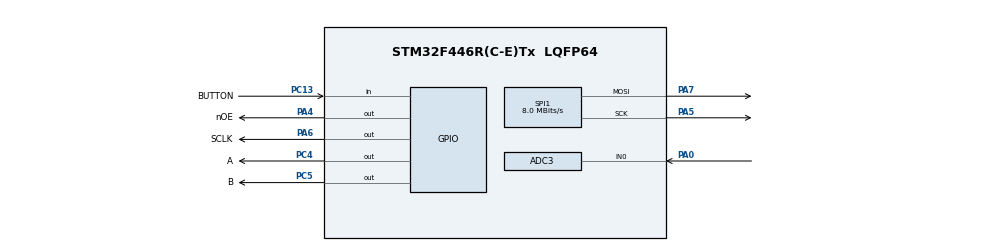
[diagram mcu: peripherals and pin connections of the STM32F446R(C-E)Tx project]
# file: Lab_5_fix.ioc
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ADC3.Channel-1\#ChannelRegularConversion=ADC_CHANNEL_0
ADC3.NbrOfConversionFlag=1
ADC3.Rank-1\#ChannelRegularConversion=1
ADC3.SamplingTime-1\#ChannelRegularConversion=ADC_SAMPLETIME_3CYCLES
Mcu.Family=STM32F4
Mcu.Name=STM32F446R(C-E)Tx
Mcu.Package=LQFP64
NVIC.ADC_IRQn=true\:0\:0\:false\:false\:true\:true\:true\:true
NVIC.PriorityGroup=NVIC_PRIORITYGROUP_4
NVIC.TIM1_BRK_TIM9_IRQn=true\:0\:0\:false\:false\:true\:true\:true\:true
NVIC.TIM1_UP_TIM10_IRQn=true\:0\:0\:false\:false\:true\:true\:true\:true
NVIC.TIM2_IRQn=true\:0\:0\:false\:false\:true\:true\:true\:true
NVIC.TIM3_IRQn=true\:0\:0\:false\:false\:true\:true\:true\:true
NVIC.TIM4_IRQn=true\:0\:0\:false\:false\:true\:true\:true\:true
NVIC.TIM8_BRK_TIM12_IRQn=true\:0\:0\:false\:false\:true\:true\:true\:true
PA0-WKUP.Signal=ADCx_IN0
PA13.Mode=Serial_Wire
PA13.Signal=SYS_JTMS-SWDIO
PA14.Mode=Serial_Wire
PA14.Signal=SYS_JTCK-SWCLK
PA4.GPIO_Label=nOE
PA4.Signal=GPIO_Output
PA5.Mode=TX_Only_Simplex_Unidirect_Master
PA5.Signal=SPI1_SCK
PA6.GPIO_Label=SCLK
PA6.Signal=GPIO_Output
PA7.Mode=TX_Only_Simplex_Unidirect_Master
PA7.Signal=SPI1_MOSI
PC13.GPIO_Label=BUTTON
PC13.Signal=GPIO_Input
PC4.GPIO_Label=A
PC4.Signal=GPIO_Output
PC5.GPIO_Label=B
PC5.Signal=GPIO_Output
PH0-OSC_IN.Mode=HSE-External-Oscillator
PH0-OSC_IN.Signal=RCC_OSC_IN
PH1-OSC_OUT.Mode=HSE-External-Oscillator
PH1-OSC_OUT.Signal=RCC_OSC_OUT
ProjectManager.HeapSize=0x200
ProjectManager.StackSize=0x400
ProjectManager.TargetToolchain=STM32CubeIDE
RCC.CortexFreq_Value=16000000
RCC.USBFreq_Value=96000000
RCC.VCOOutputFreq_Value=192000000
SH.ADCx_IN0.0=ADC3_IN0,IN0
SPI1.CalculateBaudRate=8.0 MBits/s
SPI1.Direction=SPI_DIRECTION_2LINES
SPI1.Mode=SPI_MODE_MASTER
SPI1.VirtualType=VM_MASTER
TIM1.Channel-PWM\ Generation1\ No\ Output=TIM_CHANNEL_1
TIM1.Period=2000
TIM1.Prescaler=4000
TIM10.Period=50000-1
TIM10.Prescaler=150-1
TIM12.Channel-PWM\ Generation1\ No\ Output=TIM_CHANNEL_1
TIM12.Period=50000-1
TIM12.Prescaler=320-1
TIM2.Channel-PWM\ Generation1\ No\ Output=TIM_CHANNEL_1
TIM3.Channel-PWM\ Generation1\ No\ Output=TIM_CHANNEL_1
TIM3.Period=50000-1
TIM3.Prescaler=40-1
TIM4.Channel-PWM\ Generation1\ No\ Output=TIM_CHANNEL_1
TIM4.Period=50000-1
TIM4.Prescaler=80-1
TIM9.Channel-PWM\ Generation1\ No\ Output=TIM_CHANNEL_1
TIM9.Period=50000-1
TIM9.Prescaler=20-1
VP_TIM10_VS_ClockSourceINT.Mode=Enable_Timer
VP_TIM12_VS_no_output1.Mode=PWM Generation1 No Output
VP_TIM1_VS_no_output1.Mode=PWM Generation1 No Output
VP_TIM2_VS_no_output1.Mode=PWM Generation1 No Output
VP_TIM3_VS_no_output1.Mode=PWM Generation1 No Output
VP_TIM4_VS_no_output1.Mode=PWM Generation1 No Output
VP_TIM9_VS_no_output1.Mode=PWM Generation1 No Output
board=custom

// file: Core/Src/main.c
/* USER CODE BEGIN Header */
/**
 ******************************************************************************
 * @file           : main.c
 * @brief          : Main program body
 ******************************************************************************
 * @attention
 *
 * Copyright (c) 2023 STMicroelectronics.
 * All rights reserved.
 *
 * This software is licensed under terms that can be found in the LICENSE file
 * in the root directory of this software component.
 * If no LICENSE file comes with this software, it is provided AS-IS.
 *
 ******************************************************************************
 */
/* USER CODE END Header */
#include "main.h"

/* USER CODE BEGIN Includes */
#include "disp1color.h"
#include "font.h"
#include <locale.h>
#include <time.h>
/* USER CODE END Includes */

/* USER CODE BEGIN PD */
#define f6x8_MONO_WIDTH 6
#define WIDTH 32
#define HEIGHT 16
#define MAX_LENGTH 100
/* USER CODE END PD */

ADC_HandleTypeDef hadc3;

SPI_HandleTypeDef hspi1;

TIM_HandleTypeDef htim1;
TIM_HandleTypeDef htim2;
TIM_HandleTypeDef htim3;
TIM_HandleTypeDef htim4;
TIM_HandleTypeDef htim9;
TIM_HandleTypeDef htim10;
TIM_HandleTypeDef htim12;

/* USER CODE BEGIN PV */

extern uint8_t data1[16], data2[16], data3[16], data4[16];

uint16_t x = 3; // Отвечает за отключение платы для загрузки данных
uint16_t score = 0; // Счётчик очков игры
uint16_t game_over = 3; // Состояние игры (3 - начальный экран, 0 - игровой процесс, 2 - конечный экран)
uint16_t poz = 0; // Состояние прыжка (0 – нет прыжка, 1 – состояние прыжка, 2 – промежуточное состояние)
uint16_t adc_button = 0; // Состояние кнопки
uint16_t move = 1; // Состояние анимации динозаврика
uint16_t h = 0; // Расстояние ног динозаврика до поверхности (состояние прыжка)
uint16_t jump_state = 0; // Счетчик состояния динозаврика в прыжке
int16_t mcact = -5; // Отвечает за сдвиг кактуса на экране (эффект движения)
uint16_t timer = 5; // Отвечает за время для генерации нового кактуса
uint16_t count = 0; // Отвечает за время нахождения одного кактуса на экране
uint16_t numb = 100; // Отвечает за вид кактуса (0 - узкая длинная, 1 - узкая короткая, 2 - широкая длинная, 3 - широкая короткая)
uint16_t beg = 0; // Отвечает за состояние анимации мерцании
uint16_t flag = 0; // Отвечает за состояние анимации вывода текста на экран ( 2 - вывод фразы и счёта, 3 - вывод счёта)
uint16_t jump_time = 100; // Время зажатия кнопки (Если >=2 - высокий прыжок, <2 - низкий прыжок)
uint16_t kof = 0; // Отвечает за корректную работу двух типов прыжка
char hitbox[HEIGHT][WIDTH + 10]; // Отвечает за хитбоксы кактусов и динозаврика. При встрече двух хитбоксов игра заканчивается.

/* USER CODE END PV */

void SystemClock_Config(void);
static void MX_GPIO_Init(void);
static void MX_TIM1_Init(void);
static void MX_SPI1_Init(void);
static void MX_TIM3_Init(void);
static void MX_TIM4_Init(void);
static void MX_TIM9_Init(void);
static void MX_TIM12_Init(void);
static void MX_TIM10_Init(void);
static void MX_TIM2_Init(void);
static void MX_ADC3_Init(void);

/* USER CODE BEGIN 0 */

// функция для загрузки данных по spi
void disp_row(uint16_t row) {

	if (row == 0) {

		for (uint8_t i = 0; i < 6; i++) {
			HAL_SPI_Transmit(&hspi1, &data1, 16, 10);
		}

		HAL_GPIO_WritePin(SCLK_GPIO_Port, SCLK_Pin, GPIO_PIN_RESET);
		HAL_GPIO_WritePin(SCLK_GPIO_Port, SCLK_Pin, GPIO_PIN_SET);

		HAL_GPIO_WritePin(A_GPIO_Port, A_Pin, GPIO_PIN_RESET);
		HAL_GPIO_WritePin(B_GPIO_Port, B_Pin, GPIO_PIN_RESET);
	}
	if (row == 1) {

		for (uint8_t i = 0; i < 6; i++) {
			HAL_SPI_Transmit(&hspi1, &data2, 16, 10);
		}

		HAL_GPIO_WritePin(SCLK_GPIO_Port, SCLK_Pin, GPIO_PIN_RESET);
		HAL_GPIO_WritePin(SCLK_GPIO_Port, SCLK_Pin, GPIO_PIN_SET);

		HAL_GPIO_WritePin(A_GPIO_Port, A_Pin, GPIO_PIN_SET);
		HAL_GPIO_WritePin(B_GPIO_Port, B_Pin, GPIO_PIN_RESET);
	}

	if (row == 2) {

		for (uint8_t i = 0; i < 6; i++) {
			HAL_SPI_Transmit(&hspi1, &data3, 16, 10);
		}

		HAL_GPIO_WritePin(SCLK_GPIO_Port, SCLK_Pin, GPIO_PIN_RESET);
		HAL_GPIO_WritePin(SCLK_GPIO_Port, SCLK_Pin, GPIO_PIN_SET);

		HAL_GPIO_WritePin(A_GPIO_Port, A_Pin, GPIO_PIN_RESET);
		HAL_GPIO_WritePin(B_GPIO_Port, B_Pin, GPIO_PIN_SET);
	}

	if (row == 3) {

		for (uint8_t i = 0; i < 6; i++) {
			HAL_SPI_Transmit(&hspi1, &data4, 16, 10);
		}

		HAL_GPIO_WritePin(SCLK_GPIO_Port, SCLK_Pin, GPIO_PIN_RESET);
		HAL_GPIO_WritePin(SCLK_GPIO_Port, SCLK_Pin, GPIO_PIN_SET);

		HAL_GPIO_WritePin(A_GPIO_Port, A_Pin, GPIO_PIN_SET);
		HAL_GPIO_WritePin(B_GPIO_Port, B_Pin, GPIO_PIN_SET);
	}

	HAL_GPIO_WritePin(nOE_GPIO_Port, nOE_Pin, GPIO_PIN_SET);
	for (uint32_t x = 0; x <= 300; x++) {
	};
	HAL_GPIO_WritePin(nOE_GPIO_Port, nOE_Pin, GPIO_PIN_RESET);
}

// функция отрисовки пола на экране
void draw_screen() {
	for (uint16_t i = 0; i < HEIGHT; i++) {
		for (uint16_t j = 0; j < WIDTH; j++) {
			if (i > HEIGHT - 2) {
				disp1color_DrawPixel(j, i, 1);
			} else {
				disp1color_DrawPixel(j, i, 0);
			}
		}
	}
}

// функция отрисовки анимации мерцания экрана в начале игры и в конце игры
void gameove(uint16_t k) {
	for (uint16_t i = 0; i < HEIGHT; i++) {
		for (uint16_t j = 0; j < WIDTH; j++) {
			disp1color_DrawPixel(j, i, k);
		}
	}

}

// функция отрисовки анимации для начала игры (после нажатия кнопки)
void gamebeg() {
	for (uint16_t i = 0; i < HEIGHT; i++) {
		for (uint16_t j = 0; j < WIDTH; j++) {
			disp1color_DrawPixel(j, i, 0);
		}
	}
	for (int i = 0; i < beg; i++) {
		for (uint16_t j = 0; j <= i; j++) {
			disp1color_DrawRectangle(16 - i * 2, 8 - i, 16 + i * 2, 8 + i);
			disp1color_DrawRectangle(16 - i, 8 - i, 16 + i, 8 + i);
			disp1color_DrawRectangle(15 - i, 8 - i, 15 + i, 8 + i);
			disp1color_DrawRectangle(15 - i * 2, 8 - i, 15 + i * 2, 8 + i);
		}
	}

}

// функция хитбоксов моделек. Здесь определяется случай, если динозавр задевает кактусы
void draw_hitbox(int16_t wmin, uint16_t hmax, uint16_t wmax, uint16_t hmin,
		uint16_t cact) {
	for (uint16_t i = 0; i < HEIGHT; i++) {
		for (int16_t j = 0; j < WIDTH + 10; j++) {
			hitbox[i][j] = 'A';
			//disp1color_DrawPixel(j, i, 0);
			if (i > 7 - h && i < 15 - h && j < 7) {
				hitbox[i][j] = 'D';
				//disp1color_DrawPixel(j, i, 1);
			}
			if (wmin < 0) {
				wmin = 0;
			}
			if (i >= hmin && i <= hmin && j <= wmax && j >= wmin && cact < 32) {
				//disp1color_DrawPixel(j, i, 1);
				if (hitbox[i][j] == 'D') {
					game_over = 2;
				}

			}
		}
	}
}

// отрисовка прыжка в зависимости от высоты
void jump_up(uint16_t h) {
	disp1color_DrawPixel(5, 9 - h, 1);
	disp1color_DrawLine(2, 12 - h, 3, 12 - h);
	disp1color_DrawRectangle(4, 10 - h, 6, 8 - h);
	disp1color_DrawRectangle(4, 11 - h, 5, 10 - h);
	disp1color_DrawRectangle(1, 12 - h, 4, 11 - h);
	disp1color_DrawRectangle(0, 12 - h, 1, 10 - h);
	disp1color_DrawPixel(1, 10 - h, 0);

	disp1color_DrawPixel(1, 14 - h, 1);
	disp1color_DrawPixel(1, 13 - h, 1);
	disp1color_DrawPixel(2, 14 - h, 1);
	disp1color_DrawPixel(4, 14 - h, 1);
	disp1color_DrawPixel(4, 13 - h, 1);
	disp1color_DrawPixel(5, 14 - h, 1);
}

// функция отрисовки анимации бега динозавра
void draw_dino() {
	if (move == 1) {
		disp1color_DrawPixel(5, 9, 1);
		disp1color_DrawLine(2, 12, 3, 12);
		disp1color_DrawRectangle(4, 10, 6, 8);
		disp1color_DrawRectangle(4, 11, 5, 10);
		disp1color_DrawRectangle(1, 12, 4, 11);
		disp1color_DrawRectangle(0, 12, 1, 10);
		disp1color_DrawPixel(1, 10, 0);

		disp1color_DrawPixel(1, 13, 1);
		disp1color_DrawPixel(2, 13, 1);

		disp1color_DrawPixel(4, 14, 1);
		disp1color_DrawPixel(4, 13, 1);
		disp1color_DrawPixel(5, 14, 1);
	} else if (move == 2) {
		disp1color_DrawPixel(5, 9, 1);
		disp1color_DrawLine(2, 12, 3, 12);
		disp1color_DrawRectangle(4, 10, 6, 8);
		disp1color_DrawRectangle(4, 11, 5, 10);
		disp1color_DrawRectangle(1, 12, 4, 11);
		disp1color_DrawRectangle(0, 12, 1, 10);
		disp1color_DrawPixel(1, 10, 0);

		disp1color_DrawPixel(1, 14, 1);
		disp1color_DrawPixel(1, 13, 1);
		disp1color_DrawPixel(2, 14, 1);

		disp1color_DrawPixel(4, 13, 1);
		disp1color_DrawPixel(5, 13, 1);
	} else if (move == 3) {
		disp1color_DrawPixel(5, 9, 1);
		disp1color_DrawLine(2, 12, 3, 12);
		disp1color_DrawRectangle(4, 10, 6, 8);
		disp1color_DrawRectangle(4, 11, 5, 10);
		disp1color_DrawRectangle(1, 12, 4, 11);
		disp1color_DrawRectangle(0, 12, 1, 10);
		disp1color_DrawPixel(1, 10, 0);
		disp1color_DrawPixel(1, 14, 1);
		disp1color_DrawPixel(1, 13, 1);
		disp1color_DrawPixel(2, 14, 1);
		disp1color_DrawPixel(4, 14, 1);
		disp1color_DrawPixel(4, 13, 1);
		disp1color_DrawPixel(5, 14, 1);
	}

}

// функция отрисовки кактуса в зависимости от числа numb (от 0 до 3 включительно)
void draw_cactus(uint16_t numb) {
	if (numb == 0) { // узкая длинная
		disp1color_DrawLine(30 - mcact, 11, 30 - mcact, 13);
		disp1color_DrawLine(26 - mcact, 11, 26 - mcact, 13);
		disp1color_DrawLine(28 - mcact, 14, 28 - mcact, 11);
		disp1color_DrawLine(30 - mcact, 13, 26 - mcact, 13);
		draw_hitbox(26 - mcact, 14, 30 - mcact, 11, mcact);
	} else if (numb == 1) { // узкая короткая
		disp1color_DrawLine(30 - mcact, 13, 30 - mcact, 12);
		disp1color_DrawLine(26 - mcact, 13, 26 - mcact, 12);
		disp1color_DrawLine(28 - mcact, 14, 28 - mcact, 12);
		disp1color_DrawLine(30 - mcact, 13, 26 - mcact, 13);
		draw_hitbox(26 - mcact, 14, 30 - mcact, 12, mcact);
	} else if (numb == 2) { // широкая длинная
		disp1color_DrawLine(31 - mcact, 13, 31 - mcact, 11);
		disp1color_DrawLine(25 - mcact, 13, 25 - mcact, 11);
		disp1color_DrawLine(28 - mcact, 14, 28 - mcact, 11);
		disp1color_DrawLine(31 - mcact, 13, 25 - mcact, 13);
		draw_hitbox(25 - mcact, 14, 31 - mcact, 11, mcact);
	} else if (numb == 3) { // широкая короткая
		disp1color_DrawLine(31 - mcact, 13, 31 - mcact, 12);
		disp1color_DrawLine(25 - mcact, 13, 25 - mcact, 12);
		disp1color_DrawLine(28 - mcact, 14, 28 - mcact, 12);
		disp1color_DrawLine(31 - mcact, 13, 25 - mcact, 13);
		draw_hitbox(25 - mcact, 14, 31 - mcact, 12, mcact);
	}

}

/* USER CODE END 0 */

int main(void)
{

  /* MCU Configuration--------------------------------------------------------*/

  /* Reset of all peripherals, Initializes the Flash interface and the Systick. */
  HAL_Init();

  /* Configure the system clock */
  SystemClock_Config();

  /* Initialize all configured peripherals */
  MX_GPIO_Init();
  MX_TIM1_Init();
  MX_SPI1_Init();
  MX_TIM3_Init();
  MX_TIM4_Init();
  MX_TIM9_Init();
  MX_TIM12_Init();
  MX_TIM10_Init();
  MX_TIM2_Init();
  MX_ADC3_Init();
  /* USER CODE BEGIN 2 */
	HAL_TIM_Base_Start_IT(&htim2);
	HAL_TIM_Base_Start_IT(&htim3);
	HAL_TIM_Base_Start_IT(&htim4);
	HAL_TIM_Base_Start_IT(&htim9);
	HAL_TIM_Base_Start_IT(&htim12);
	HAL_TIM_Base_Start_IT(&htim10);

	char *gamebegin = "CLICK"; // слово, которое выводится в начале игры
	char *gameover = "GAMEOVER SCORE IS "; // слово, которое выводится в конце игры
	char *scor[5]; // результат игры (количество очков)

  /* USER CODE END 2 */

  /* Infinite loop */
  /* USER CODE BEGIN WHILE */
	while (1) {
		// цикл для игрового режима. Здесь происходит анимация экрана, движения динозаврика и кактусов.
		if (!game_over) {
			draw_screen();
			// генерация и движение кактуса по экрану
			if (count == 0) {
				timer = rand() % 4 + 2;
				count++;
			} else if (count == timer - 1) {
				mcact = -5;
				numb = rand() % 4;
			} else if (count <= timer + 4 && count >= timer) {
				draw_cactus(numb);
			}
			// анимация прыжка при нажатии кнопки
			if (poz == 1) {
				if (jump_state == 0) {
					jump_state++;
					jump_time = 0;
					h = 0;
					jump_up(h);
				} else if (jump_state <= 2) {
					h = 1;
					jump_up(h);
				} else if (jump_state <= 3) {
					h = 4;
					jump_up(h);
				} else if (jump_state <= 4) {
					h = 6;
					jump_up(h);
				} else if (jump_state <= 5 && jump_time >= 2) {
					h = 8;
					kof = 1;
					jump_up(h);
				} else if (jump_state <= 6 && kof == 1) {
					h = 8;
					jump_up(h);
				} else if (jump_state <= 8 && kof == 1) {
					h = 6;
					jump_up(h);
				} else if (jump_state <= (10 - kof)) {
					h = 4;
					jump_up(h);
				} else if (jump_state <= (11 - kof)) {
					h = 1;
					jump_time = 0;
					jump_up(h);
				} else if (jump_state <= (12 - kof)) {
					h = 0;
					jump_up(h);
					kof = 5;
				}
			} else if (jump_state == 0) {
				draw_dino();
			}
			// загрузка данных на LED-панель и их отрисовка
			disp1color_UpdateFromBuff();
			prepare_data();
			for (uint8_t i = 0; i < 20; i++) {
				disp_row(0);
				disp_row(1);
				disp_row(2);
				disp_row(3);
			}
		// цикл для конечного экрана. Он активируется при соприкосновении хитбоксов динозавра и кактуса
		} else if (game_over == 2) {
			if (flag == 1) {
				flag = 0;
			}

			sprintf(scor, "%d", score);
			char *pMyStr[1000];
			if (!beg) {
				beg = 1;
			}
			// цикл отвечает за анимацию мерцания
			if (beg % 2 == 0 && beg <= 9 && !flag) {
				gameove(1);
				disp1color_UpdateFromBuff();
				prepare_data();
				for (uint8_t i = 0; i < 20; i++) {
					disp_row(0);
					disp_row(1);
					disp_row(2);
					disp_row(3);
				}
			} else if (beg % 2 == 1 && beg <= 9 && !flag) {
				gameove(0);
				disp1color_UpdateFromBuff();
				prepare_data();
				for (uint8_t i = 0; i < 20; i++) {
					disp_row(0);
					disp_row(1);
					disp_row(2);
					disp_row(3);
				}
			}

			// отвечает за вывод информации на экран
			snprintf(pMyStr, sizeof pMyStr, "%s%s", gameover, scor);
			uint16_t strSize = strlen(pMyStr);
			uint8_t symbolDelay = 2;
			if ((beg > 9 && flag == 0) || flag == 2) {
				flag = 2;
				for (int16_t x = 30;
						x > -((strSize + symbolDelay) * f6x8_MONO_WIDTH); x--) {
					disp1color_printf(x, 4, FONTID_6X8M, pMyStr);
					disp1color_UpdateFromBuff();
					prepare_data();
					for (uint8_t i = 0; i < 20; i++) {
						disp_row(0);
						disp_row(1);
						disp_row(2);
						disp_row(3);
					}
				}
				flag = 3;
			}
			// после вывода информации на конечном экране выводит счёт в центр и зависает
			if (flag == 3) {
				snprintf(pMyStr, sizeof pMyStr, "%s", scor);
				disp1color_printf(11, 4, FONTID_6X8M, pMyStr);
				disp1color_UpdateFromBuff();
				prepare_data();
				for (uint8_t i = 0; i < 20; i++) {
					disp_row(0);
					disp_row(1);
					disp_row(2);
					disp_row(3);
				}
			}
		// цикл для анимации начального экрана
		} else if (game_over == 3) {
			// отвечает за вывод строки переменной gamebegin
			if (!beg) {
				char *pMyStr[100];
				snprintf(pMyStr, sizeof pMyStr, "%s", gamebegin);
				disp1color_printf(1, 4, FONTID_6X8M, pMyStr);
				disp1color_UpdateFromBuff();
				prepare_data();
				for (uint8_t i = 0; i < 20; i++) {
					disp_row(0);
					disp_row(1);
					disp_row(2);
					disp_row(3);
				}
			}

			// цикл для анимации начальной анимации
			if (adc_button || flag) {
				flag = 1;
				if (!beg) {
					beg = 1;
				}
				if (beg <= 8) {
					for (uint16_t i = 0; i <= 2; i++) {
						gamebeg();
						disp1color_UpdateFromBuff();
						prepare_data();
						for (uint8_t i = 0; i < 20; i++) {
							disp_row(0);
							disp_row(1);
							disp_row(2);
							disp_row(3);
						}
					}

				}
				// цикл отрисовки падения динозавра перед началом игры
				if (beg > 8) {
					draw_screen();
					if (jump_state == 0) {
						jump_state++;
						h = 12;
						jump_up(h);
					} else if (jump_state <= 2) {
						h = 10;
						jump_up(h);
					} else if (jump_state <= 3) {
						h = 8;
						jump_up(h);
					} else if (jump_state <= 4) {
						h = 6;
						jump_up(h);
					} else if (jump_state <= 6) {
						h = 4;
						jump_up(h);
					} else if (jump_state <= 8) {
						h = 2;
						jump_up(h);
					} else if (jump_state <= 9) {
						h = 0;
						poz = 2;
						jump_up(h);
					}
					disp1color_UpdateFromBuff();
					prepare_data();
					for (uint8_t i = 0; i < 20; i++) {
						disp_row(0);
						disp_row(1);
						disp_row(2);
						disp_row(3);
					}
				}
				if (jump_state == 11) {
					game_over = 0;
					kof = 5;
				}
			}
		}
	}
    /* USER CODE END WHILE */

}

void SystemClock_Config(void)
{
  RCC_OscInitTypeDef RCC_OscInitStruct = {0};
  RCC_ClkInitTypeDef RCC_ClkInitStruct = {0};

  /** Configure the main internal regulator output voltage
  */
  __HAL_RCC_PWR_CLK_ENABLE();
  __HAL_PWR_VOLTAGESCALING_CONFIG(PWR_REGULATOR_VOLTAGE_SCALE3);

  /** Initializes the RCC Oscillators according to the specified parameters
  * in the RCC_OscInitTypeDef structure.
  */
  RCC_OscInitStruct.OscillatorType = RCC_OSCILLATORTYPE_HSI;
  RCC_OscInitStruct.HSIState = RCC_HSI_ON;
  RCC_OscInitStruct.HSICalibrationValue = RCC_HSICALIBRATION_DEFAULT;
  RCC_OscInitStruct.PLL.PLLState = RCC_PLL_NONE;
  if (HAL_RCC_OscConfig(&RCC_OscInitStruct) != HAL_OK)
  {
    Error_Handler();
  }

  /** Initializes the CPU, AHB and APB buses clocks
  */
  RCC_ClkInitStruct.ClockType = RCC_CLOCKTYPE_HCLK|RCC_CLOCKTYPE_SYSCLK
                              |RCC_CLOCKTYPE_PCLK1|RCC_CLOCKTYPE_PCLK2;
  RCC_ClkInitStruct.SYSCLKSource = RCC_SYSCLKSOURCE_HSI;
  RCC_ClkInitStruct.AHBCLKDivider = RCC_SYSCLK_DIV1;
  RCC_ClkInitStruct.APB1CLKDivider = RCC_HCLK_DIV1;
  RCC_ClkInitStruct.APB2CLKDivider = RCC_HCLK_DIV1;

  if (HAL_RCC_ClockConfig(&RCC_ClkInitStruct, FLASH_LATENCY_0) != HAL_OK)
  {
    Error_Handler();
  }
}

static void MX_ADC3_Init(void)
{

  ADC_ChannelConfTypeDef sConfig = {0};

  /** Configure the global features of the ADC (Clock, Resolution, Data Alignment and number of conversion)
  */
  hadc3.Instance = ADC3;
  hadc3.Init.ClockPrescaler = ADC_CLOCK_SYNC_PCLK_DIV2;
  hadc3.Init.Resolution = ADC_RESOLUTION_12B;
  hadc3.Init.ScanConvMode = DISABLE;
  hadc3.Init.ContinuousConvMode = DISABLE;
  hadc3.Init.DiscontinuousConvMode = DISABLE;
  hadc3.Init.ExternalTrigConvEdge = ADC_EXTERNALTRIGCONVEDGE_NONE;
  hadc3.Init.ExternalTrigConv = ADC_SOFTWARE_START;
  hadc3.Init.DataAlign = ADC_DATAALIGN_RIGHT;
  hadc3.Init.NbrOfConversion = 1;
  hadc3.Init.DMAContinuousRequests = DISABLE;
  hadc3.Init.EOCSelection = ADC_EOC_SINGLE_CONV;
  if (HAL_ADC_Init(&hadc3) != HAL_OK)
  {
    Error_Handler();
  }

  /** Configure for the selected ADC regular channel its corresponding rank in the sequencer and its sample time.
  */
  sConfig.Channel = ADC_CHANNEL_0;
  sConfig.Rank = 1;
  sConfig.SamplingTime = ADC_SAMPLETIME_3CYCLES;
  if (HAL_ADC_ConfigChannel(&hadc3, &sConfig) != HAL_OK)
  {
    Error_Handler();
  }

}

static void MX_SPI1_Init(void)
{

  /* SPI1 parameter configuration*/
  hspi1.Instance = SPI1;
  hspi1.Init.Mode = SPI_MODE_MASTER;
  hspi1.Init.Direction = SPI_DIRECTION_2LINES;
  hspi1.Init.DataSize = SPI_DATASIZE_8BIT;
  hspi1.Init.CLKPolarity = SPI_POLARITY_LOW;
  hspi1.Init.CLKPhase = SPI_PHASE_1EDGE;
  hspi1.Init.NSS = SPI_NSS_SOFT;
  hspi1.Init.BaudRatePrescaler = SPI_BAUDRATEPRESCALER_2;
  hspi1.Init.FirstBit = SPI_FIRSTBIT_MSB;
  hspi1.Init.TIMode = SPI_TIMODE_DISABLE;
  hspi1.Init.CRCCalculation = SPI_CRCCALCULATION_DISABLE;
  hspi1.Init.CRCPolynomial = 10;
  if (HAL_SPI_Init(&hspi1) != HAL_OK)
  {
    Error_Handler();
  }

}

static void MX_TIM1_Init(void)
{

  TIM_MasterConfigTypeDef sMasterConfig = {0};
  TIM_OC_InitTypeDef sConfigOC = {0};
  TIM_BreakDeadTimeConfigTypeDef sBreakDeadTimeConfig = {0};

  htim1.Instance = TIM1;
  htim1.Init.Prescaler = 4000;
  htim1.Init.CounterMode = TIM_COUNTERMODE_UP;
  htim1.Init.Period = 2000;
  htim1.Init.ClockDivision = TIM_CLOCKDIVISION_DIV1;
  htim1.Init.RepetitionCounter = 0;
  htim1.Init.AutoReloadPreload = TIM_AUTORELOAD_PRELOAD_DISABLE;
  if (HAL_TIM_PWM_Init(&htim1) != HAL_OK)
  {
    Error_Handler();
  }
  sMasterConfig.MasterOutputTrigger = TIM_TRGO_RESET;
  sMasterConfig.MasterSlaveMode = TIM_MASTERSLAVEMODE_DISABLE;
  if (HAL_TIMEx_MasterConfigSynchronization(&htim1, &sMasterConfig) != HAL_OK)
  {
    Error_Handler();
  }
  sConfigOC.OCMode = TIM_OCMODE_PWM1;
  sConfigOC.Pulse = 0;
  sConfigOC.OCPolarity = TIM_OCPOLARITY_HIGH;
  sConfigOC.OCNPolarity = TIM_OCNPOLARITY_HIGH;
  sConfigOC.OCFastMode = TIM_OCFAST_DISABLE;
  sConfigOC.OCIdleState = TIM_OCIDLESTATE_RESET;
  sConfigOC.OCNIdleState = TIM_OCNIDLESTATE_RESET;
  if (HAL_TIM_PWM_ConfigChannel(&htim1, &sConfigOC, TIM_CHANNEL_1) != HAL_OK)
  {
    Error_Handler();
  }
  sBreakDeadTimeConfig.OffStateRunMode = TIM_OSSR_DISABLE;
  sBreakDeadTimeConfig.OffStateIDLEMode = TIM_OSSI_DISABLE;
  sBreakDeadTimeConfig.LockLevel = TIM_LOCKLEVEL_OFF;
  sBreakDeadTimeConfig.DeadTime = 0;
  sBreakDeadTimeConfig.BreakState = TIM_BREAK_DISABLE;
  sBreakDeadTimeConfig.BreakPolarity = TIM_BREAKPOLARITY_HIGH;
  sBreakDeadTimeConfig.AutomaticOutput = TIM_AUTOMATICOUTPUT_DISABLE;
  if (HAL_TIMEx_ConfigBreakDeadTime(&htim1, &sBreakDeadTimeConfig) != HAL_OK)
  {
    Error_Handler();
  }

}

static void MX_TIM2_Init(void)
{

  TIM_MasterConfigTypeDef sMasterConfig = {0};
  TIM_OC_InitTypeDef sConfigOC = {0};

  htim2.Instance = TIM2;
  htim2.Init.Prescaler = 0;
  htim2.Init.CounterMode = TIM_COUNTERMODE_UP;
  htim2.Init.Period = 4294967295;
  htim2.Init.ClockDivision = TIM_CLOCKDIVISION_DIV1;
  htim2.Init.AutoReloadPreload = TIM_AUTORELOAD_PRELOAD_DISABLE;
  if (HAL_TIM_PWM_Init(&htim2) != HAL_OK)
  {
    Error_Handler();
  }
  sMasterConfig.MasterOutputTrigger = TIM_TRGO_RESET;
  sMasterConfig.MasterSlaveMode = TIM_MASTERSLAVEMODE_DISABLE;
  if (HAL_TIMEx_MasterConfigSynchronization(&htim2, &sMasterConfig) != HAL_OK)
  {
    Error_Handler();
  }
  sConfigOC.OCMode = TIM_OCMODE_PWM1;
  sConfigOC.Pulse = 0;
  sConfigOC.OCPolarity = TIM_OCPOLARITY_HIGH;
  sConfigOC.OCFastMode = TIM_OCFAST_DISABLE;
  if (HAL_TIM_PWM_ConfigChannel(&htim2, &sConfigOC, TIM_CHANNEL_1) != HAL_OK)
  {
    Error_Handler();
  }

}

static void MX_TIM3_Init(void)
{

  TIM_MasterConfigTypeDef sMasterConfig = {0};
  TIM_OC_InitTypeDef sConfigOC = {0};

  htim3.Instance = TIM3;
  htim3.Init.Prescaler = 40-1;
  htim3.Init.CounterMode = TIM_COUNTERMODE_UP;
  htim3.Init.Period = 50000-1;
  htim3.Init.ClockDivision = TIM_CLOCKDIVISION_DIV1;
  htim3.Init.AutoReloadPreload = TIM_AUTORELOAD_PRELOAD_DISABLE;
  if (HAL_TIM_PWM_Init(&htim3) != HAL_OK)
  {
    Error_Handler();
  }
  sMasterConfig.MasterOutputTrigger = TIM_TRGO_RESET;
  sMasterConfig.MasterSlaveMode = TIM_MASTERSLAVEMODE_DISABLE;
  if (HAL_TIMEx_MasterConfigSynchronization(&htim3, &sMasterConfig) != HAL_OK)
  {
    Error_Handler();
  }
  sConfigOC.OCMode = TIM_OCMODE_PWM1;
  sConfigOC.Pulse = 0;
  sConfigOC.OCPolarity = TIM_OCPOLARITY_HIGH;
  sConfigOC.OCFastMode = TIM_OCFAST_DISABLE;
  if (HAL_TIM_PWM_ConfigChannel(&htim3, &sConfigOC, TIM_CHANNEL_1) != HAL_OK)
  {
    Error_Handler();
  }

}

static void MX_TIM4_Init(void)
{

  TIM_MasterConfigTypeDef sMasterConfig = {0};
  TIM_OC_InitTypeDef sConfigOC = {0};

  htim4.Instance = TIM4;
  htim4.Init.Prescaler = 80-1;
  htim4.Init.CounterMode = TIM_COUNTERMODE_UP;
  htim4.Init.Period = 50000-1;
  htim4.Init.ClockDivision = TIM_CLOCKDIVISION_DIV1;
  htim4.Init.AutoReloadPreload = TIM_AUTORELOAD_PRELOAD_DISABLE;
  if (HAL_TIM_PWM_Init(&htim4) != HAL_OK)
  {
    Error_Handler();
  }
  sMasterConfig.MasterOutputTrigger = TIM_TRGO_RESET;
  sMasterConfig.MasterSlaveMode = TIM_MASTERSLAVEMODE_DISABLE;
  if (HAL_TIMEx_MasterConfigSynchronization(&htim4, &sMasterConfig) != HAL_OK)
  {
    Error_Handler();
  }
  sConfigOC.OCMode = TIM_OCMODE_PWM1;
  sConfigOC.Pulse = 0;
  sConfigOC.OCPolarity = TIM_OCPOLARITY_HIGH;
  sConfigOC.OCFastMode = TIM_OCFAST_DISABLE;
  if (HAL_TIM_PWM_ConfigChannel(&htim4, &sConfigOC, TIM_CHANNEL_1) != HAL_OK)
  {
    Error_Handler();
  }

}

static void MX_TIM9_Init(void)
{

  TIM_OC_InitTypeDef sConfigOC = {0};

  htim9.Instance = TIM9;
  htim9.Init.Prescaler = 20-1;
  htim9.Init.CounterMode = TIM_COUNTERMODE_UP;
  htim9.Init.Period = 50000-1;
  htim9.Init.ClockDivision = TIM_CLOCKDIVISION_DIV1;
  htim9.Init.AutoReloadPreload = TIM_AUTORELOAD_PRELOAD_DISABLE;
  if (HAL_TIM_PWM_Init(&htim9) != HAL_OK)
  {
    Error_Handler();
  }
  sConfigOC.OCMode = TIM_OCMODE_PWM1;
  sConfigOC.Pulse = 0;
  sConfigOC.OCPolarity = TIM_OCPOLARITY_HIGH;
  sConfigOC.OCFastMode = TIM_OCFAST_DISABLE;
  if (HAL_TIM_PWM_ConfigChannel(&htim9, &sConfigOC, TIM_CHANNEL_1) != HAL_OK)
  {
    Error_Handler();
  }

}

static void MX_TIM10_Init(void)
{

  htim10.Instance = TIM10;
  htim10.Init.Prescaler = 150-1;
  htim10.Init.CounterMode = TIM_COUNTERMODE_UP;
  htim10.Init.Period = 50000-1;
  htim10.Init.ClockDivision = TIM_CLOCKDIVISION_DIV1;
  htim10.Init.AutoReloadPreload = TIM_AUTORELOAD_PRELOAD_DISABLE;
  if (HAL_TIM_Base_Init(&htim10) != HAL_OK)
  {
    Error_Handler();
  }

}

static void MX_TIM12_Init(void)
{

  TIM_OC_InitTypeDef sConfigOC = {0};

  htim12.Instance = TIM12;
  htim12.Init.Prescaler = 320-1;
  htim12.Init.CounterMode = TIM_COUNTERMODE_UP;
  htim12.Init.Period = 50000-1;
  htim12.Init.ClockDivision = TIM_CLOCKDIVISION_DIV1;
  htim12.Init.AutoReloadPreload = TIM_AUTORELOAD_PRELOAD_DISABLE;
  if (HAL_TIM_PWM_Init(&htim12) != HAL_OK)
  {
    Error_Handler();
  }
  sConfigOC.OCMode = TIM_OCMODE_PWM1;
  sConfigOC.Pulse = 0;
  sConfigOC.OCPolarity = TIM_OCPOLARITY_HIGH;
  sConfigOC.OCFastMode = TIM_OCFAST_DISABLE;
  if (HAL_TIM_PWM_ConfigChannel(&htim12, &sConfigOC, TIM_CHANNEL_1) != HAL_OK)
  {
    Error_Handler();
  }

}

static void MX_GPIO_Init(void)
{
  GPIO_InitTypeDef GPIO_InitStruct = {0};

  /* GPIO Ports Clock Enable */
  __HAL_RCC_GPIOC_CLK_ENABLE();
  __HAL_RCC_GPIOH_CLK_ENABLE();
  __HAL_RCC_GPIOA_CLK_ENABLE();

  /*Configure GPIO pin Output Level */
  HAL_GPIO_WritePin(GPIOA, nOE_Pin|SCLK_Pin, GPIO_PIN_RESET);

  /*Configure GPIO pin Output Level */
  HAL_GPIO_WritePin(GPIOC, A_Pin|B_Pin, GPIO_PIN_RESET);

  /*Configure GPIO pin : BUTTON_Pin */
  GPIO_InitStruct.Pin = BUTTON_Pin;
  GPIO_InitStruct.Mode = GPIO_MODE_INPUT;
  GPIO_InitStruct.Pull = GPIO_NOPULL;
  HAL_GPIO_Init(BUTTON_GPIO_Port, &GPIO_InitStruct);

  /*Configure GPIO pins : nOE_Pin SCLK_Pin */
  GPIO_InitStruct.Pin = nOE_Pin|SCLK_Pin;
  GPIO_InitStruct.Mode = GPIO_MODE_OUTPUT_PP;
  GPIO_InitStruct.Pull = GPIO_NOPULL;
  GPIO_InitStruct.Speed = GPIO_SPEED_FREQ_LOW;
  HAL_GPIO_Init(GPIOA, &GPIO_InitStruct);

  /*Configure GPIO pins : A_Pin B_Pin */
  GPIO_InitStruct.Pin = A_Pin|B_Pin;
  GPIO_InitStruct.Mode = GPIO_MODE_OUTPUT_PP;
  GPIO_InitStruct.Pull = GPIO_NOPULL;
  GPIO_InitStruct.Speed = GPIO_SPEED_FREQ_LOW;
  HAL_GPIO_Init(GPIOC, &GPIO_InitStruct);

}

void Error_Handler(void)
{
	__disable_irq();
	while (1) {
	}
}
